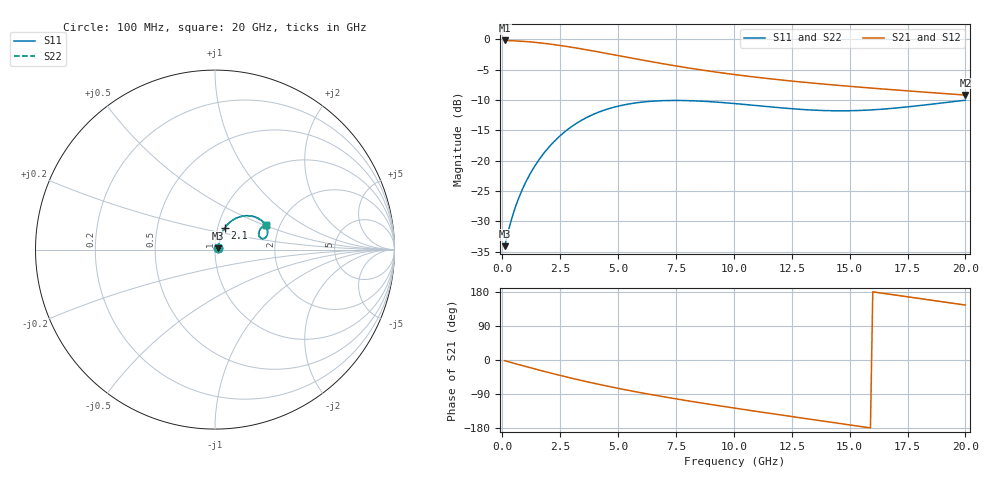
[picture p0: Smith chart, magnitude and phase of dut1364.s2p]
! Touchstone file exported from HFSS 2024.1.0
!  File:  C:/UserFiles/LocalFiles/RDL_TSV_Batchsim/temp_RDL_TSV_1364_1780397406.aedt
!  Generated:  07:07:03 PM Jun  2, 2026
!  Design:  RDL_TSV
!  Project:  temp_RDL_TSV_1364_1780397406
!  Setup:  Setup1
!  Solution:  Sweep
! Variables:
!  dtsv = 5.45um
!  hbump = 3um
!  htsv = 69.5um
!  ldown = 628.46um
!  lrdl = 339.61um
!  p = 40
!  p1 = 50.57um
!  rhole = 10um
!  subl = 3243.82um
!  t = 450um
!  tdown = 4.61um
!  trdl = 2.06um
!  viad = 10um
!  wdown = 18.44um
!  wrdl = 26.81um
!  xbump = 18um
# GHz S MA R 50.000000
! Terminal data exported
! Port[1] = TM1_1_T1
! Port[2] = TM1_4_T1
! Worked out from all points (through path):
!   200 points, 100 MHz to 20 GHz, reference 50 ohm
!   highest |S21| = -0.17 dB at 100 MHz (marker M1); lowest = -9.2 dB at 20 GHz (marker M2)
!   group delay of S21, straight-line fit = 28.3 ps
!   lowest |S11| = -34.1 dB at 100 MHz (marker M3), VSWR 1.04, Z = 51.9 + j0.707 ohm
!   |S11| at or under -10 dB: start of sweep to end of sweep
!   |S22| runs from -34.1 to -10.1 dB; largest |S21 - S12| = 9.1e-15
!   S11 on the Smith chart (normalised r, x): 100 MHz: 1.04, +0.01; 2.1 GHz: 1.08, +0.27; 20 GHz: 1.70, +0.51
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0.1  0.01972 20.2  0.981 -1.8  0.981 -1.8  0.01971 20.2
! Gamma 0 0 0 0
! Port Impedance 50 0 50 0
0.3  0.02803 43.4  0.9784 -5.2  0.9784 -5.2  0.028 43.3
0.5  0.03796 54.0  0.9747 -8.6  0.9747 -8.6  0.03792 54.0
0.7  0.04861 60.0  0.9702 -12.0  0.9702 -12.0  0.04856 60.0
0.9  0.05988 63.6  0.9648 -15.3  0.9648 -15.3  0.05981 63.5
1.4  0.09008 67.0  0.9472 -23.5  0.9472 -23.5  0.08997 66.9
1.7  0.1091 66.9  0.9341 -28.3  0.9341 -28.3  0.109 66.8
2.1  0.135 65.4  0.9141 -34.6  0.9141 -34.6  0.1348 65.4
2.8  0.1794 60.7  0.8742 -45.2  0.8742 -45.2  0.1791 60.6
3.5  0.2196 54.7  0.8307 -55.2  0.8307 -55.2  0.2191 54.6
4.2  0.253 48.3  0.7862 -64.7  0.7862 -64.7  0.2524 48.1
4.9  0.2786 42.0  0.7425 -73.6  0.7425 -73.6  0.2778 41.9
5.8  0.3003 34.7  0.6897 -84.2  0.6897 -84.2  0.2994 34.5
6.8  0.312 27.7  0.6372 -95.3  0.6372 -95.3  0.3109 27.6
8.4  0.311 19.3  0.5678 -111.5  0.5678 -111.5  0.3097 19.2
10.1  0.2952 14.2  0.5113 -127.6  0.5113 -127.6  0.2937 14.1
11.7  0.2765 12.8  0.4706 -142.1  0.4706 -142.1  0.2748 12.7
13.4  0.2615 14.7  0.4367 -157.2  0.4367 -157.2  0.2597 14.7
15  0.2582 18.6  0.4105 -171.3  0.4105 -171.3  0.2565 18.7
16.7  0.2687 22.8  0.3868 173.7  0.3868 173.7  0.2671 22.9
18.4  0.2904 25.3  0.3657 158.9  0.3657 158.9  0.289 25.5
20  0.3153 25.6  0.3477 145.0  0.3477 145.0  0.3141 25.7
